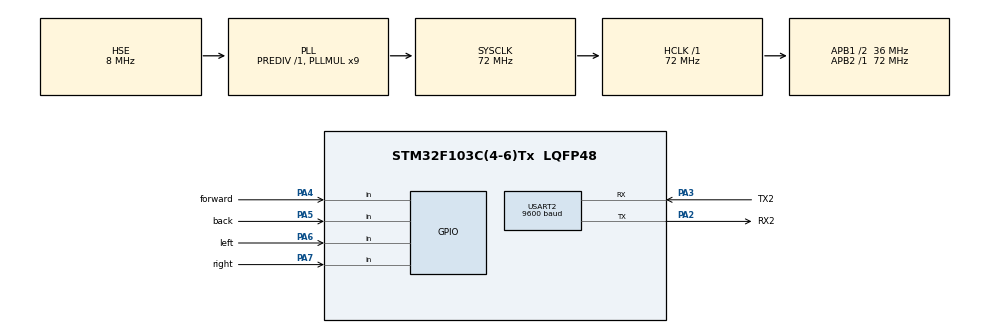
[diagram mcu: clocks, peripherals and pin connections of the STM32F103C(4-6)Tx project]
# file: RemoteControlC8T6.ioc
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Mcu.Family=STM32F1
Mcu.Name=STM32F103C(4-6)Tx
Mcu.Package=LQFP48
NVIC.PriorityGroup=NVIC_PRIORITYGROUP_4
PA13.GPIO_Label=SYSD
PA13.Mode=Serial_Wire
PA13.Signal=SYS_JTMS-SWDIO
PA14.GPIO_Label=SYSC
PA14.Mode=Serial_Wire
PA14.Signal=SYS_JTCK-SWCLK
PA2.GPIO_Label=RX2
PA2.Mode=Asynchronous
PA2.Signal=USART2_TX
PA3.GPIO_Label=TX2
PA3.Mode=Asynchronous
PA3.Signal=USART2_RX
PA4.GPIO_Label=forward
PA4.GPIO_PuPd=GPIO_PULLUP
PA4.Signal=GPIO_Input
PA5.GPIO_Label=back
PA5.GPIO_PuPd=GPIO_PULLUP
PA5.Signal=GPIO_Input
PA6.GPIO_Label=left
PA6.GPIO_PuPd=GPIO_PULLUP
PA6.Signal=GPIO_Input
PA7.GPIO_Label=right
PA7.GPIO_PuPd=GPIO_PULLUP
PA7.Signal=GPIO_Input
PC14-OSC32_IN.Mode=LSE-External-Oscillator
PC14-OSC32_IN.Signal=RCC_OSC32_IN
PC15-OSC32_OUT.Mode=LSE-External-Oscillator
PC15-OSC32_OUT.Signal=RCC_OSC32_OUT
PD0-OSC_IN.Mode=HSE-External-Oscillator
PD0-OSC_IN.Signal=RCC_OSC_IN
PD1-OSC_OUT.Mode=HSE-External-Oscillator
PD1-OSC_OUT.Signal=RCC_OSC_OUT
ProjectManager.HeapSize=0x200
ProjectManager.StackSize=0x400
ProjectManager.TargetToolchain=MDK-ARM V5.27
RCC.AHBFreq_Value=72000000
RCC.APB1CLKDivider=RCC_HCLK_DIV2
RCC.APB1Freq_Value=36000000
RCC.APB1TimFreq_Value=72000000
RCC.APB2Freq_Value=72000000
RCC.APB2TimFreq_Value=72000000
RCC.HCLKFreq_Value=72000000
RCC.PLLMUL=RCC_PLL_MUL9
RCC.PLLSourceVirtual=RCC_PLLSOURCE_HSE
RCC.SYSCLKFreq_VALUE=72000000
RCC.SYSCLKSource=RCC_SYSCLKSOURCE_PLLCLK
RCC.USBFreq_Value=72000000
USART2.BaudRate=9600
USART2.VirtualMode=VM_ASYNC
board=custom

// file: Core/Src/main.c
/* USER CODE BEGIN Header */
/**
  ******************************************************************************
  * @file           : main.c
  * @brief          : Main program body
  ******************************************************************************
  * @attention
  *
  * <h2><center>&copy; Copyright (c) 2022 STMicroelectronics.
  * All rights reserved.</center></h2>
  *
  * This software component is licensed by ST under BSD 3-Clause license,
  * the "License"; You may not use this file except in compliance with the
  * License. You may obtain a copy of the License at:
  *                        opensource.org/licenses/BSD-3-Clause
  *
  ******************************************************************************
  */
/* USER CODE END Header */
#include "main.h"
#include "usart.h"
#include "gpio.h"

/* USER CODE BEGIN PTD */
uint8_t TransDate[12];  //定义发送的数据

/* USER CODE END PTD */

void SystemClock_Config(void);

/* USER CODE BEGIN 0 */
//中断处理函数。

/* USER CODE END 0 */

int main(void)
{

  /* MCU Configuration--------------------------------------------------------*/

  /* Reset of all peripherals, Initializes the Flash interface and the Systick. */
  HAL_Init();

  /* Configure the system clock */
  SystemClock_Config();

  /* Initialize all configured peripherals */
  MX_GPIO_Init();
  MX_USART2_UART_Init();
  /* USER CODE BEGIN 2 */

	TransDate[0]=0x70;
	TransDate[1]=0x00;  //电机转动方向
	TransDate[2]=0x01;  //电机转速高八位
	TransDate[3]=0x00;  //电机转速低八位
	TransDate[4]=0x00;
	TransDate[5]=0x01;
	TransDate[6]=0x00;
	TransDate[7]=0x00;
	TransDate[8]=0x00;
	TransDate[9]=0x00;
	TransDate[10]=0x00;
	TransDate[11]=0x80;

  /* USER CODE END 2 */

  /* Infinite loop */
  /* USER CODE BEGIN WHILE */
  while (1)
  {
		if(HAL_GPIO_ReadPin(forward_GPIO_Port,forward_Pin) == GPIO_PIN_RESET)  //向前按钮按下了
		{
			TransDate[1]=0x00;  //电机转动方向
			TransDate[4]=0x00;
			HAL_UART_Transmit(&huart2,TransDate,12,100);
			HAL_Delay(100);
		}

		if(HAL_GPIO_ReadPin(back_GPIO_Port,back_Pin) == GPIO_PIN_RESET)
		{
			TransDate[1]=0x01;  //电机转动方向
			TransDate[4]=0x01;
			HAL_UART_Transmit(&huart2,TransDate,12,100);
			HAL_Delay(100);
		}

		if(HAL_GPIO_ReadPin(left_GPIO_Port,left_Pin) == GPIO_PIN_RESET)
		{
			TransDate[1]=0x00;  //电机转动方向
			TransDate[4]=0x01;
			HAL_UART_Transmit(&huart2,TransDate,12,100);
			HAL_Delay(100);
		}

		if(HAL_GPIO_ReadPin(right_GPIO_Port,right_Pin) == GPIO_PIN_RESET)
		{
			TransDate[1]=0x00;  //电机转动方向
			TransDate[4]=0x01;
			HAL_UART_Transmit(&huart2,TransDate,12,100);
			HAL_Delay(100);
		}

    /* USER CODE END WHILE */

  }
}

void SystemClock_Config(void)
{
  RCC_OscInitTypeDef RCC_OscInitStruct = {0};
  RCC_ClkInitTypeDef RCC_ClkInitStruct = {0};

  /** Initializes the RCC Oscillators according to the specified parameters
  * in the RCC_OscInitTypeDef structure.
  */
  RCC_OscInitStruct.OscillatorType = RCC_OSCILLATORTYPE_HSE;
  RCC_OscInitStruct.HSEState = RCC_HSE_ON;
  RCC_OscInitStruct.HSEPredivValue = RCC_HSE_PREDIV_DIV1;
  RCC_OscInitStruct.HSIState = RCC_HSI_ON;
  RCC_OscInitStruct.PLL.PLLState = RCC_PLL_ON;
  RCC_OscInitStruct.PLL.PLLSource = RCC_PLLSOURCE_HSE;
  RCC_OscInitStruct.PLL.PLLMUL = RCC_PLL_MUL9;
  if (HAL_RCC_OscConfig(&RCC_OscInitStruct) != HAL_OK)
  {
    Error_Handler();
  }
  /** Initializes the CPU, AHB and APB buses clocks
  */
  RCC_ClkInitStruct.ClockType = RCC_CLOCKTYPE_HCLK|RCC_CLOCKTYPE_SYSCLK
                              |RCC_CLOCKTYPE_PCLK1|RCC_CLOCKTYPE_PCLK2;
  RCC_ClkInitStruct.SYSCLKSource = RCC_SYSCLKSOURCE_PLLCLK;
  RCC_ClkInitStruct.AHBCLKDivider = RCC_SYSCLK_DIV1;
  RCC_ClkInitStruct.APB1CLKDivider = RCC_HCLK_DIV2;
  RCC_ClkInitStruct.APB2CLKDivider = RCC_HCLK_DIV1;

  if (HAL_RCC_ClockConfig(&RCC_ClkInitStruct, FLASH_LATENCY_2) != HAL_OK)
  {
    Error_Handler();
  }
}

void Error_Handler(void)
{
  __disable_irq();
  while (1)
  {
  }
}

/************************ (C) COPYRIGHT STMicroelectronics *****END OF FILE****/
